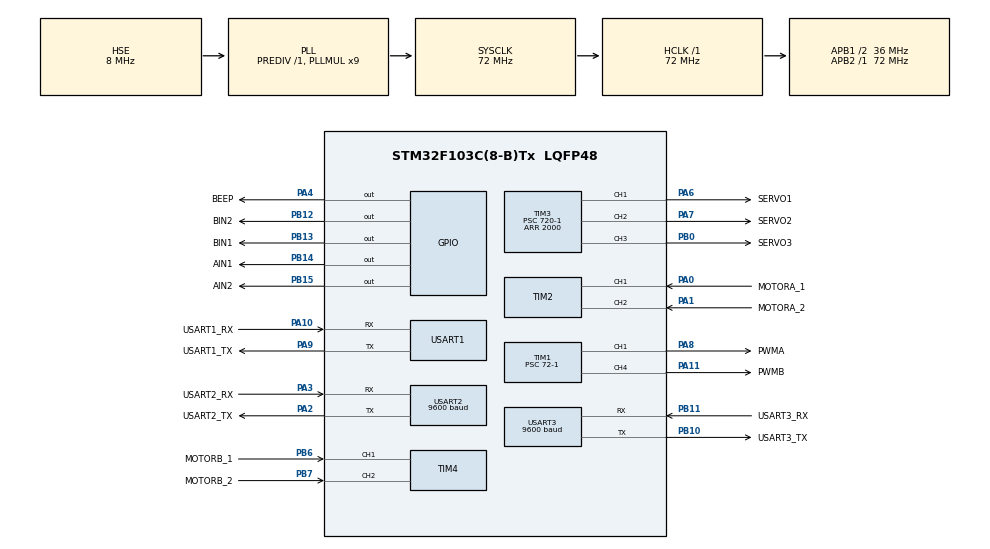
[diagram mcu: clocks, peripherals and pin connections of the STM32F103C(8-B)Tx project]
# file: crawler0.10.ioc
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Mcu.Family=STM32F1
Mcu.Name=STM32F103C(8-B)Tx
Mcu.Package=LQFP48
NVIC.PriorityGroup=NVIC_PRIORITYGROUP_4
NVIC.TIM1_TRG_COM_IRQn=true\:0\:0\:true\:false\:true\:true\:true\:true
NVIC.TIM1_UP_IRQn=true\:0\:0\:false\:false\:true\:true\:true\:true
NVIC.TIM2_IRQn=true\:0\:0\:false\:false\:true\:true\:true\:true
NVIC.TIM3_IRQn=true\:0\:0\:false\:false\:true\:true\:true\:true
NVIC.TIM4_IRQn=true\:0\:0\:false\:false\:true\:true\:true\:true
NVIC.USART1_IRQn=true\:0\:0\:false\:false\:true\:true\:true\:true
NVIC.USART2_IRQn=true\:0\:0\:false\:false\:true\:true\:true\:true
NVIC.USART3_IRQn=true\:0\:0\:false\:false\:true\:true\:true\:true
PA0-WKUP.GPIO_Label=MOTORA_1
PA0-WKUP.GPIO_PuPd=GPIO_PULLUP
PA0-WKUP.Signal=S_TIM2_CH1_ETR
PA1.GPIO_Label=MOTORA_2
PA1.GPIO_PuPd=GPIO_PULLUP
PA1.Signal=S_TIM2_CH2
PA10.GPIO_Label=USART1_RX
PA10.Mode=Asynchronous
PA10.Signal=USART1_RX
PA11.GPIO_Label=PWMB
PA11.Signal=S_TIM1_CH4
PA13.Mode=Serial_Wire
PA13.Signal=SYS_JTMS-SWDIO
PA14.Mode=Serial_Wire
PA14.Signal=SYS_JTCK-SWCLK
PA2.GPIO_Label=USART2_TX
PA2.Mode=Asynchronous
PA2.Signal=USART2_TX
PA3.GPIO_Label=USART2_RX
PA3.Mode=Asynchronous
PA3.Signal=USART2_RX
PA4.GPIO_Label=BEEP
PA4.Signal=GPIO_Output
PA6.GPIO_Label=SERVO1
PA6.Signal=S_TIM3_CH1
PA7.GPIO_Label=SERVO2
PA7.Signal=S_TIM3_CH2
PA8.GPIO_Label=PWMA
PA8.Signal=S_TIM1_CH1
PA9.GPIO_Label=USART1_TX
PA9.Mode=Asynchronous
PA9.Signal=USART1_TX
PB0.GPIO_Label=SERVO3
PB0.Signal=S_TIM3_CH3
PB10.GPIO_Label=USART3_TX
PB10.Mode=Asynchronous
PB10.Signal=USART3_TX
PB11.GPIO_Label=USART3_RX
PB11.Mode=Asynchronous
PB11.Signal=USART3_RX
PB12.GPIO_Label=BIN2
PB12.Signal=GPIO_Output
PB13.GPIO_Label=BIN1
PB13.Signal=GPIO_Output
PB14.GPIO_Label=AIN1
PB14.Signal=GPIO_Output
PB15.GPIO_Label=AIN2
PB15.Signal=GPIO_Output
PB6.GPIO_Label=MOTORB_1
PB6.GPIO_PuPd=GPIO_PULLUP
PB6.Signal=S_TIM4_CH1
PB7.GPIO_Label=MOTORB_2
PB7.GPIO_PuPd=GPIO_PULLUP
PB7.Signal=S_TIM4_CH2
PD0-OSC_IN.Mode=HSE-External-Oscillator
PD0-OSC_IN.Signal=RCC_OSC_IN
PD1-OSC_OUT.Mode=HSE-External-Oscillator
PD1-OSC_OUT.Signal=RCC_OSC_OUT
ProjectManager.HeapSize=0x200
ProjectManager.StackSize=0x400
ProjectManager.TargetToolchain=MDK-ARM V5.32
RCC.AHBFreq_Value=72000000
RCC.APB1CLKDivider=RCC_HCLK_DIV2
RCC.APB1Freq_Value=36000000
RCC.APB1TimFreq_Value=72000000
RCC.APB2Freq_Value=72000000
RCC.APB2TimFreq_Value=72000000
RCC.HCLKFreq_Value=72000000
RCC.PLLMUL=RCC_PLL_MUL9
RCC.PLLSourceVirtual=RCC_PLLSOURCE_HSE
RCC.SYSCLKFreq_VALUE=72000000
RCC.SYSCLKSource=RCC_SYSCLKSOURCE_PLLCLK
RCC.USBFreq_Value=72000000
SH.S_TIM1_CH1.0=TIM1_CH1,PWM Generation1 CH1
SH.S_TIM1_CH4.0=TIM1_CH4,PWM Generation4 CH4
SH.S_TIM2_CH1_ETR.0=TIM2_CH1,Encoder_Interface
SH.S_TIM2_CH2.0=TIM2_CH2,Encoder_Interface
SH.S_TIM3_CH1.0=TIM3_CH1,PWM Generation1 CH1
SH.S_TIM3_CH2.0=TIM3_CH2,PWM Generation2 CH2
SH.S_TIM3_CH3.0=TIM3_CH3,PWM Generation3 CH3
SH.S_TIM4_CH1.0=TIM4_CH1,Encoder_Interface
SH.S_TIM4_CH2.0=TIM4_CH2,Encoder_Interface
TIM1.Channel-PWM\ Generation1\ CH1=TIM_CHANNEL_1
TIM1.Channel-PWM\ Generation4\ CH4=TIM_CHANNEL_4
TIM1.Period=1000-1
TIM1.Prescaler=72-1
TIM3.Channel-PWM\ Generation1\ CH1=TIM_CHANNEL_1
TIM3.Channel-PWM\ Generation2\ CH2=TIM_CHANNEL_2
TIM3.Channel-PWM\ Generation3\ CH3=TIM_CHANNEL_3
TIM3.Period=2000
TIM3.Prescaler=720-1
USART1.VirtualMode=VM_ASYNC
USART2.BaudRate=9600
USART2.VirtualMode=VM_ASYNC
USART3.BaudRate=9600
USART3.VirtualMode=VM_ASYNC
VP_TIM1_VS_ClockSourceINT.Mode=Internal
VP_TIM3_VS_ClockSourceINT.Mode=Internal
board=custom

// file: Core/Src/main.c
/* USER CODE BEGIN Header */
/**
  ******************************************************************************
  * @file           : main.c
  * @brief          : Main program body
  ******************************************************************************
  * @attention
  *
  * Copyright (c) 2024 STMicroelectronics.
  * All rights reserved.
  *
  * This software is licensed under terms that can be found in the LICENSE file
  * in the root directory of this software component.
  * If no LICENSE file comes with this software, it is provided AS-IS.
  *
  ******************************************************************************
  */
/* USER CODE END Header */
#include "main.h"
#include "tim.h"
#include "usart.h"
#include "gpio.h"

/* USER CODE BEGIN Includes */
#include <stdio.h>
#include <string.h>

#include "OLED.h"
#include "JAY31.h"
#include "usart1.h"
#include "Motor.h"
#include "exit.h"
#include "encoder.h"
/* USER CODE END Includes */

void SystemClock_Config(void);

int main(void)
{

  /* MCU Configuration--------------------------------------------------------*/

  /* Reset of all peripherals, Initializes the Flash interface and the Systick. */
  HAL_Init();

  /* Configure the system clock */
  SystemClock_Config();

  /* Initialize all configured peripherals */
  MX_GPIO_Init();
  MX_TIM1_Init();
  MX_TIM2_Init();
  MX_TIM3_Init();
  MX_TIM4_Init();
  MX_USART2_UART_Init();
  MX_USART3_UART_Init();
  MX_USART1_UART_Init();
  /* USER CODE BEGIN 2 */
//	OLED_Init();
	HAL_TIM_Encoder_Start(&htim2, TIM_CHANNEL_ALL);
	HAL_TIM_Encoder_Start(&htim4, TIM_CHANNEL_ALL);
  HAL_TIM_Base_Start_IT(&htim1);                  //开启定时器的中断

	JAY31_Init();
	KEY_EXIT_Init();
	usart1_Init();
	PID_Param_Init();

	printf("Hello World\r\n");

	PID.MotorA_Velocity_Target_Val=-100;
	PID.MotorB_Velocity_Target_Val=0;
  /* USER CODE END 2 */

  /* Infinite loop */
  /* USER CODE BEGIN WHILE */
  while (1)
  {

//		OLED_ShowChar(1, 1, 'A');
//		OLED_ShowString(1, 3, "HelloWorld!");
//		OLED_ShowNum(2, 1, 12345, 5);
//		OLED_ShowSignedNum(2, 7, -66, 2);
//		OLED_ShowHexNum(3, 1, 0xAA55, 4);
//		OLED_ShowBinNum(4, 1, 0xAA55, 16);
    /* USER CODE END WHILE */

  }
}

void SystemClock_Config(void)
{
  RCC_OscInitTypeDef RCC_OscInitStruct = {0};
  RCC_ClkInitTypeDef RCC_ClkInitStruct = {0};

  /** Initializes the RCC Oscillators according to the specified parameters
  * in the RCC_OscInitTypeDef structure.
  */
  RCC_OscInitStruct.OscillatorType = RCC_OSCILLATORTYPE_HSE;
  RCC_OscInitStruct.HSEState = RCC_HSE_ON;
  RCC_OscInitStruct.HSEPredivValue = RCC_HSE_PREDIV_DIV1;
  RCC_OscInitStruct.HSIState = RCC_HSI_ON;
  RCC_OscInitStruct.PLL.PLLState = RCC_PLL_ON;
  RCC_OscInitStruct.PLL.PLLSource = RCC_PLLSOURCE_HSE;
  RCC_OscInitStruct.PLL.PLLMUL = RCC_PLL_MUL9;
  if (HAL_RCC_OscConfig(&RCC_OscInitStruct) != HAL_OK)
  {
    Error_Handler();
  }

  /** Initializes the CPU, AHB and APB buses clocks
  */
  RCC_ClkInitStruct.ClockType = RCC_CLOCKTYPE_HCLK|RCC_CLOCKTYPE_SYSCLK
                              |RCC_CLOCKTYPE_PCLK1|RCC_CLOCKTYPE_PCLK2;
  RCC_ClkInitStruct.SYSCLKSource = RCC_SYSCLKSOURCE_PLLCLK;
  RCC_ClkInitStruct.AHBCLKDivider = RCC_SYSCLK_DIV1;
  RCC_ClkInitStruct.APB1CLKDivider = RCC_HCLK_DIV2;
  RCC_ClkInitStruct.APB2CLKDivider = RCC_HCLK_DIV1;

  if (HAL_RCC_ClockConfig(&RCC_ClkInitStruct, FLASH_LATENCY_2) != HAL_OK)
  {
    Error_Handler();
  }
}

/* USER CODE BEGIN 4 */
SW SW_t;

void HAL_GPIO_EXTI_Callback(uint16_t GPIO_Pin)
{
    if(GPIO_Pin == SW2_Pin)
    {
			SW_t.SW2_val = SW2_Read;
//        motor_speed(0,0);
    }
    else if(GPIO_Pin == SW3_Pin)
    {
        SW_t.SW3_val = SW3_Read;
    }
    else if(GPIO_Pin == SW4_Pin)
    {
        SW_t.SW4_val = SW4_Read;
    }
}
/* USER CODE END 4 */

void Error_Handler(void)
{
  __disable_irq();
  while (1)
  {
  }
}
